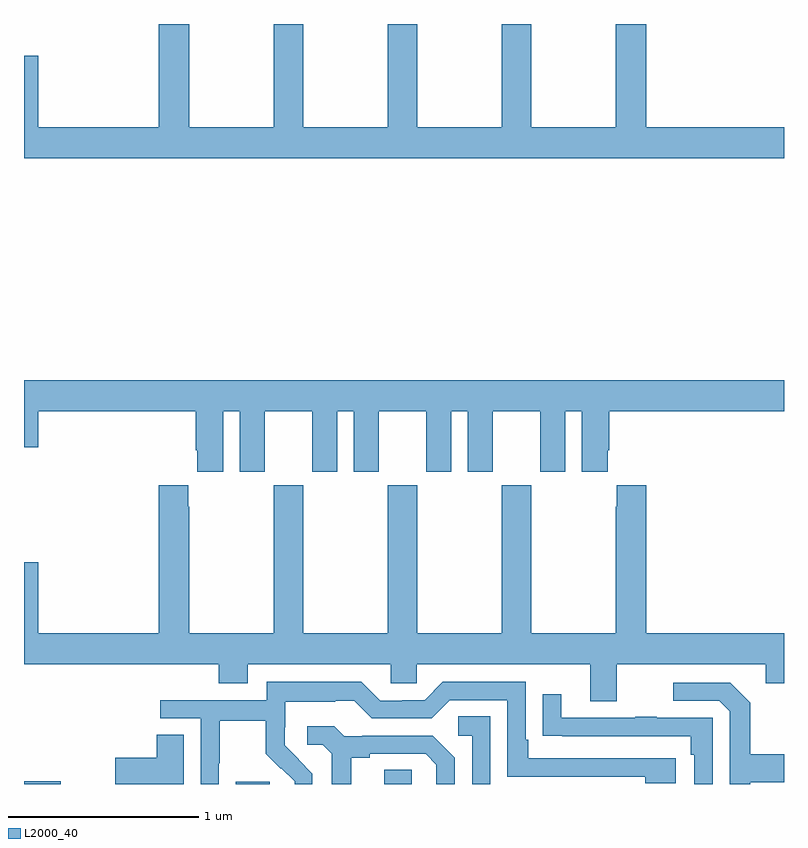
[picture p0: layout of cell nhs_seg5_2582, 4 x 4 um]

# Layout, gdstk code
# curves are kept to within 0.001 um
import gdstk
lib = gdstk.Library(unit=1e-6, precision=1e-09)
def R(c, l, rs):  # rectangles x0, y0, x1, y1
    for r in rs: c.add(gdstk.rectangle(r[:2], r[2:], *l))
def P(c, l, *ps):  # polygons
    for p in ps: c.add(gdstk.Polygon(p, *l))
L2000_40 = (2000, 40)

nhs_seg5_2582 = lib.new_cell('nhs_seg5_2582')
R(nhs_seg5_2582, L2000_40, [(261,854.799,261.193,854.813), (262.115,854.799,262.294,854.811), (262.895,854.799,263.04,854.873)])
P(nhs_seg5_2582, L2000_40, [(265,858.256),(264.275,858.256),(264.275,858.799),(264.115,858.799),(264.115,858.256),(263.67,858.256),(263.67,858.799),(263.515,858.799),(263.515,858.256),(263.07,858.256),(263.07,858.799),(262.915,858.799),(262.915,858.256),(262.47,858.256),(262.47,858.799),(262.315,858.799),(262.315,858.256),(261.87,858.256),(261.87,858.799),(261.71,858.799),(261.71,858.256),(261.076,858.256),(261.076,858.631),(261,858.631),(261,858.092),(265,858.092)],
  [(262.048,856.76),(262.136,856.76),(262.136,856.443),(262.267,856.443),(262.267,856.76),(262.517,856.76),(262.517,856.443),(262.648,856.443),(262.648,856.76),(262.736,856.76),(262.736,856.443),(262.867,856.443),(262.867,856.76),(263.117,856.76),(263.117,856.443),(263.248,856.443),(263.248,856.76),(263.336,856.76),(263.336,856.443),(263.467,856.443),(263.467,856.76),(263.717,856.76),(263.717,856.443),(263.848,856.443),(263.848,856.76),(263.936,856.76),(263.936,856.443),(264.073,856.443),(264.073,856.555),(264.08,856.555),(264.08,856.76),(265,856.76),(265,856.924),(261,856.924),(261,856.572),(261.076,856.572),(261.076,856.76),(261.904,856.76),(261.904,856.555),(261.911,856.555),(261.911,856.443),(262.048,856.443)],
  [(264.121,855.428),(264.905,855.428),(264.905,855.329),(265,855.329),(265,855.592),(264.275,855.592),(264.275,856.372),(264.119,856.372),(264.119,856.259),(264.115,856.259),(264.115,855.592),(263.67,855.592),(263.67,856.372),(263.515,856.372),(263.515,855.592),(263.07,855.592),(263.07,856.372),(262.915,856.372),(262.915,855.592),(262.47,855.592),(262.47,856.372),(262.315,856.372),(262.315,855.592),(261.87,855.592),(261.87,856.259),(261.865,856.259),(261.865,856.372),(261.71,856.372),(261.71,855.592),(261.076,855.592),(261.076,855.967),(261,855.967),(261,855.428),(262.025,855.428),(262.025,855.329),(262.177,855.329),(262.177,855.428),(262.929,855.428),(262.929,855.33),(263.067,855.33),(263.067,855.428),(263.981,855.428),(263.981,855.234),(264.121,855.234)],
  [(262.026,854.908),(262.029,854.908),(262.029,855.132),(262.273,855.132),(262.273,854.957),(262.35,854.88),(262.353,854.883),(262.424,854.813),(262.424,854.799),(262.518,854.799),(262.518,854.854),(262.372,855.002),(262.372,855.099),(262.374,855.099),(262.374,855.233),(262.637,855.233),(262.637,855.237),(262.737,855.237),(262.83,855.144),(263.145,855.144),(263.241,855.24),(263.544,855.24),(263.544,854.838),(264.269,854.838),(264.269,854.804),(264.43,854.804),(264.43,854.934),(263.653,854.934),(263.653,855.031),(263.64,855.031),(263.64,855.336),(263.205,855.336),(263.109,855.24),(262.991,855.24),(262.991,855.237),(262.875,855.237),(262.775,855.337),(262.278,855.337),(262.278,855.24),(261.717,855.24),(261.717,855.144),(261.93,855.144),(261.93,854.799),(262.026,854.799)],
  [(264.823,854.807),(265,854.807),(265,854.955),(264.823,854.955),(264.823,855.227),(264.717,855.333),(264.417,855.333),(264.417,855.237),(264.66,855.237),(264.714,855.183),(264.714,854.799),(264.823,854.799)],
  [(264.624,855.147),(264.329,855.147),(264.329,855.152),(264.217,855.152),(264.217,855.147),(263.827,855.147),(263.827,855.271),(263.731,855.271),(263.731,855.052),(263.833,855.052),(263.833,855.051),(264.508,855.051),(264.508,854.954),(264.528,854.954),(264.528,854.799),(264.624,854.799)],
  [(263.454,855.155),(263.286,855.155),(263.286,855.054),(263.358,855.054),(263.358,854.799),(263.454,854.799)],
  [(262.723,854.936),(262.819,854.936),(262.819,854.958),(263.114,854.958),(263.171,854.901),(263.171,854.799),(263.268,854.799),(263.268,854.938),(263.152,855.054),(262.78,855.054),(262.78,855.051),(262.686,855.051),(262.634,855.103),(262.491,855.103),(262.491,855.006),(262.572,855.006),(262.619,854.959),(262.619,854.799),(262.723,854.799)],
  [(261.841,855.059),(261.698,855.059),(261.698,854.936),(261.48,854.936),(261.48,854.799),(261.841,854.799)])

lib.write_gds('nhs_seg5_2582.gds')
